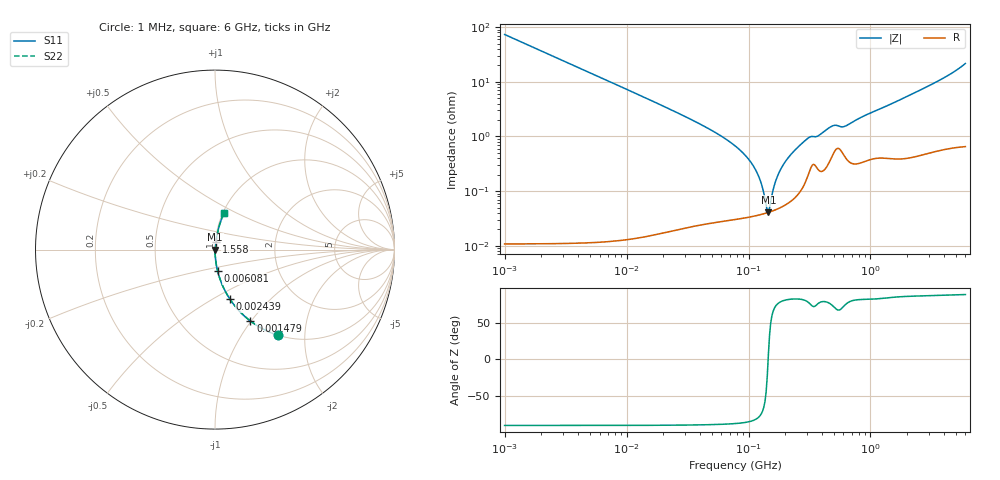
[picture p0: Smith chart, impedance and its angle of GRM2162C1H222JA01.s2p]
!Murata Part Number: GRM2162C1H222JA01
!These Parameters are Measured in Series Mode Connection
!Data Generated on Mar 30, 2021
!  o--ll--o
!Port1  Port2
!  o------o
!Operation Temp=25[degC], DC Bias Voltage=0[V]
!Freq. Start=1000[kHz] Stop=6[GHz] 401[Steps]
# Hz S RI R 50
!Freq.(Hz) S11(Real) S11(Imag) S21(Real) S21(Imag) S12(Real) S12(Imag) S22(Real) S22(Imag)
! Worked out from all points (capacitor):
!   401 points, 1 MHz to 6 GHz, reference 50 ohm
!   read as one part in series: C = 2.17 nF near 1.044 MHz
!   lowest |Z| = 41.2 mohm at 145.5 MHz (marker M1)
!   series resonance near 144.9 MHz, so ESL is about 560 pH
!   S11 on the Smith chart (normalised r, x): 1 MHz: 1.00, -1.47; 1.479 MHz: 1.00, -0.99; 2.439 MHz: 1.00, -0.60; 6.081 MHz: 1.00, -0.24; 1.558 GHz: 1.01, +0.08; 6 GHz: 1.01, +0.43
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1000000  0.35 -0.4769  0.65 0.4769  0.65 0.4769  0.35 -0.4769
1479166  0.1975 -0.398  0.8025 0.398  0.8025 0.398  0.1975 -0.398
2439274  0.083 -0.2758  0.917 0.2758  0.917 0.2758  0.083 -0.2758
4293785  0.0284 -0.1659  0.9716 0.1659  0.9716 0.1659  0.0284 -0.1659
6080879  0.0144 -0.1187  0.9856 0.1187  0.9856 0.1187  0.0144 -0.1187
1.843659e7  0.00169 -0.039  0.9983 0.039  0.9983 0.039  0.00169 -0.039
4.596069e7  0.000457 -0.0143  0.9995 0.0143  0.9995 0.0143  0.000457 -0.0143
7.745967e7  0.000348 -0.00674  0.9997 0.00674  0.9997 0.00674  0.000348 -0.00674
9.83954e7  0.000347 -0.00401  0.9997 0.00401  0.9997 0.00401  0.000347 -0.00401
1.145757e8  0.00036 -0.0024  0.9996 0.0024  0.9996 0.0024  0.00036 -0.0024
1.277378e8  0.000378 -0.00128  0.9996 0.00128  0.9996 0.00128  0.000378 -0.00128
1.39348e8  0.000397 -0.000394  0.9996 0.000394  0.9996 0.000394  0.000397 -0.000394
1.455431e8  0.000409 4.89e-05  0.9996 -4.89e-05  0.9996 -4.89e-05  0.000409 4.89e-05
1.694764e8  0.000466 0.00162  0.9995 -0.00162  0.9995 -0.00162  0.000466 0.00162
1.930997e8  0.000542 0.00301  0.9995 -0.00301  0.9995 -0.00301  0.000542 0.00301
2.506837e8  0.000874 0.00613  0.9991 -0.00613  0.9991 -0.00613  0.000874 0.00613
3.325952e8  0.00306 0.00951  0.9969 -0.00951  0.9969 -0.00951  0.00306 0.00951
4.919634e8  0.00487 0.0149  0.9951 -0.0149  0.9951 -0.0149  0.00487 0.0149
6.249308e8  0.00427 0.0149  0.9957 -0.0149  0.9957 -0.0149  0.00427 0.0149
1.428092e9  0.00533 0.0375  0.9947 -0.0375  0.9947 -0.0375  0.00533 0.0375
1.557894e9  0.00556 0.041  0.9944 -0.041  0.9944 -0.041  0.00556 0.041
6e9  0.0503 0.2041  0.9497 -0.2041  0.9497 -0.2041  0.0503 0.2041
